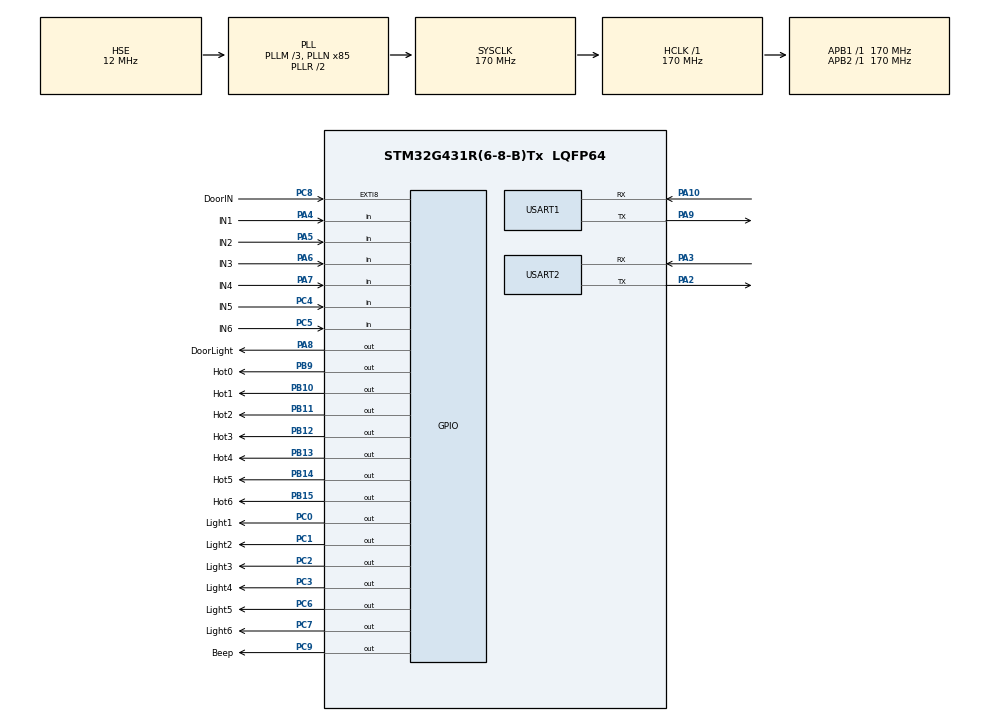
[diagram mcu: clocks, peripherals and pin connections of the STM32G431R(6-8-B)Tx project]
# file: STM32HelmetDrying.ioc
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Dma.Request0=USART2_RX
Dma.USART2_RX.0.Direction=DMA_PERIPH_TO_MEMORY
Dma.USART2_RX.0.EventEnable=DISABLE
Dma.USART2_RX.0.Instance=DMA1_Channel1
Dma.USART2_RX.0.MemDataAlignment=DMA_MDATAALIGN_BYTE
Dma.USART2_RX.0.MemInc=DMA_MINC_ENABLE
Dma.USART2_RX.0.Mode=DMA_NORMAL
Dma.USART2_RX.0.PeriphDataAlignment=DMA_PDATAALIGN_BYTE
Dma.USART2_RX.0.PeriphInc=DMA_PINC_DISABLE
Dma.USART2_RX.0.Polarity=HAL_DMAMUX_REQ_GEN_RISING
Dma.USART2_RX.0.Priority=DMA_PRIORITY_HIGH
Dma.USART2_RX.0.RequestNumber=1
Dma.USART2_RX.0.SignalID=NONE
Dma.USART2_RX.0.SyncEnable=DISABLE
Dma.USART2_RX.0.SyncPolarity=HAL_DMAMUX_SYNC_NO_EVENT
Dma.USART2_RX.0.SyncRequestNumber=1
Dma.USART2_RX.0.SyncSignalID=NONE
Mcu.Family=STM32G4
Mcu.Name=STM32G431R(6-8-B)Tx
Mcu.Package=LQFP64
NVIC.EXTI9_5_IRQn=true\:0\:0\:false\:false\:true\:true\:true\:true
NVIC.PriorityGroup=NVIC_PRIORITYGROUP_4
NVIC.USART2_IRQn=true\:0\:0\:false\:false\:true\:true\:true\:true
PA10.Mode=Asynchronous
PA10.Signal=USART1_RX
PA13.Mode=Serial_Wire
PA13.Signal=SYS_JTMS-SWDIO
PA14.Mode=Serial_Wire
PA14.Signal=SYS_JTCK-SWCLK
PA2.Mode=Asynchronous
PA2.Signal=USART2_TX
PA3.Mode=Asynchronous
PA3.Signal=USART2_RX
PA4.GPIO_Label=IN1
PA4.GPIO_PuPd=GPIO_PULLUP
PA4.Signal=GPIO_Input
PA5.GPIO_Label=IN2
PA5.GPIO_PuPd=GPIO_PULLUP
PA5.Signal=GPIO_Input
PA6.GPIO_Label=IN3
PA6.GPIO_PuPd=GPIO_PULLUP
PA6.Signal=GPIO_Input
PA7.GPIO_Label=IN4
PA7.GPIO_PuPd=GPIO_PULLUP
PA7.Signal=GPIO_Input
PA8.GPIO_Label=DoorLight
PA8.Signal=GPIO_Output
PA9.Mode=Asynchronous
PA9.Signal=USART1_TX
PB10.GPIO_Label=Hot1
PB10.Signal=GPIO_Output
PB11.GPIO_Label=Hot2
PB11.Signal=GPIO_Output
PB12.GPIO_Label=Hot3
PB12.Signal=GPIO_Output
PB13.GPIO_Label=Hot4
PB13.Signal=GPIO_Output
PB14.GPIO_Label=Hot5
PB14.Signal=GPIO_Output
PB15.GPIO_Label=Hot6
PB15.Signal=GPIO_Output
PB9.GPIO_Label=Hot0
PB9.Signal=GPIO_Output
PC0.GPIO_Label=Light1
PC0.Signal=GPIO_Output
PC1.GPIO_Label=Light2
PC1.Signal=GPIO_Output
PC2.GPIO_Label=Light3
PC2.Signal=GPIO_Output
PC3.GPIO_Label=Light4
PC3.Signal=GPIO_Output
PC4.GPIO_Label=IN5
PC4.GPIO_PuPd=GPIO_PULLUP
PC4.Signal=GPIO_Input
PC5.GPIO_Label=IN6
PC5.GPIO_PuPd=GPIO_PULLUP
PC5.Signal=GPIO_Input
PC6.GPIO_Label=Light5
PC6.Signal=GPIO_Output
PC7.GPIO_Label=Light6
PC7.Signal=GPIO_Output
PC8.GPIO_Label=DoorIN
PC8.GPIO_ModeDefaultEXTI=GPIO_MODE_IT_RISING_FALLING
PC8.GPIO_PuPd=GPIO_PULLUP
PC8.Signal=GPXTI8
PC9.GPIO_Label=Beep
PC9.Signal=GPIO_Output
PF0-OSC_IN.Mode=HSE-External-Oscillator
PF0-OSC_IN.Signal=RCC_OSC_IN
PF1-OSC_OUT.Mode=HSE-External-Oscillator
PF1-OSC_OUT.Signal=RCC_OSC_OUT
ProjectManager.HeapSize=0x200
ProjectManager.StackSize=0x400
ProjectManager.TargetToolchain=STM32CubeIDE
RCC.ADC12Freq_Value=170000000
RCC.AHBFreq_Value=170000000
RCC.APB1Freq_Value=170000000
RCC.APB1TimFreq_Value=170000000
RCC.APB2Freq_Value=170000000
RCC.APB2TimFreq_Value=170000000
RCC.CortexFreq_Value=170000000
RCC.EXTERNAL_CLOCK_VALUE=12288000
RCC.HCLKFreq_Value=170000000
RCC.HSE_VALUE=12000000
RCC.HSI48_VALUE=48000000
RCC.HSI_VALUE=16000000
RCC.LSE_VALUE=32768
RCC.PLLM=RCC_PLLM_DIV3
RCC.PLLN=85
RCC.PLLSourceVirtual=RCC_PLLSOURCE_HSE
RCC.SYSCLKFreq_VALUE=170000000
RCC.SYSCLKSource=RCC_SYSCLKSOURCE_PLLCLK
RCC.USBFreq_Value=170000000
RCC.VCOOutputFreq_Value=340000000
USART1.VirtualMode-Asynchronous=VM_ASYNC
USART2.VirtualMode-Asynchronous=VM_ASYNC
VP_SYS_VS_DBSignals.Mode=DisableDeadBatterySignals
board=custom

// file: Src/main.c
/* USER CODE BEGIN Header */
/**
  ******************************************************************************
  * @file           : main.c
  * @brief          : Main program body
  ******************************************************************************
  * @attention
  *
  * Copyright (c) 2025 STMicroelectronics.
  * All rights reserved.
  *
  * This software is licensed under terms that can be found in the LICENSE file
  * in the root directory of this software component.
  * If no LICENSE file comes with this software, it is provided AS-IS.
  *
  ******************************************************************************
  */
/* USER CODE END Header */
#include "main.h"

/* USER CODE BEGIN Includes */
#include <retarget.h>
#include <stdbool.h>

#include "stm32g4xx_hal_uart.h"
#include "TJCScreen.h"
#include "Work.h"

/* USER CODE END Includes */

UART_HandleTypeDef huart1;
UART_HandleTypeDef huart2;
DMA_HandleTypeDef hdma_usart2_rx;

void SystemClock_Config(void);
static void MX_GPIO_Init(void);
static void MX_DMA_Init(void);
static void MX_USART1_UART_Init(void);
static void MX_USART2_UART_Init(void);

/* USER CODE BEGIN 0 */
int recLen = 100;
char rec[100] = {0};
volatile bool nowExit[6];
volatile bool isWorking = {false};
static float YuZhi = 1000.0f;

void Check() {
    if (HAL_GPIO_ReadPin(IN1_GPIO_Port, IN1_Pin) == GPIO_PIN_RESET) {
        nowExit[0] = true;
        TJCSendAnyProperty("toukui1", "bco", "63488");
    } else {
        nowExit[0] = false;
        TJCSendAnyProperty("toukui1", "bco", "65535");
    }
    if (HAL_GPIO_ReadPin(IN2_GPIO_Port, IN2_Pin) == GPIO_PIN_RESET) {
        nowExit[1] = true;
        TJCSendAnyProperty("toukui2", "bco", "63488");
    } else {
        nowExit[1] = false;
        TJCSendAnyProperty("toukui2", "bco", "65535");
    }
    if (HAL_GPIO_ReadPin(IN3_GPIO_Port, IN3_Pin) == GPIO_PIN_RESET) {
        nowExit[2] = true;
        TJCSendAnyProperty("toukui3", "bco", "63488");
    } else {
        nowExit[2] = false;
        TJCSendAnyProperty("toukui3", "bco", "65535");
    }
    if (HAL_GPIO_ReadPin(IN4_GPIO_Port, IN4_Pin) == GPIO_PIN_RESET) {
        nowExit[3] = true;
        TJCSendAnyProperty("toukui4", "bco", "63488");
    } else {
        nowExit[3] = false;
        TJCSendAnyProperty("toukui4", "bco", "65535");
    }
    if (HAL_GPIO_ReadPin(IN5_GPIO_Port, IN5_Pin) == GPIO_PIN_RESET) {
        nowExit[4] = true;
        TJCSendAnyProperty("toukui5", "bco", "63488");
    } else {
        nowExit[4] = false;
        TJCSendAnyProperty("toukui5", "bco", "65535");
    }
    if (HAL_GPIO_ReadPin(IN6_GPIO_Port, IN6_Pin) == GPIO_PIN_RESET) {
        nowExit[5] = true;
        TJCSendAnyProperty("toukui6", "bco", "63488");
    } else {
        nowExit[5] = false;
        TJCSendAnyProperty("toukui6", "bco", "65535");
    }
}
/* USER CODE END 0 */

int main(void) {

    /* MCU Configuration--------------------------------------------------------*/

    /* Reset of all peripherals, Initializes the Flash interface and the Systick. */
    HAL_Init();

    /* Configure the system clock */
    SystemClock_Config();

    /* Initialize all configured peripherals */
    MX_GPIO_Init();
    MX_DMA_Init();
    MX_USART1_UART_Init();
    MX_USART2_UART_Init();
    /* USER CODE BEGIN 2 */
    __HAL_UART_ENABLE_IT(&huart2, UART_IT_IDLE);
    HAL_UART_Receive_DMA(&huart2, (uint8_t *) rec, recLen);

    HAL_GPIO_WritePin(Hot0_GPIO_Port, Hot0_Pin, GPIO_PIN_SET);
    HAL_GPIO_WritePin(Hot1_GPIO_Port, Hot1_Pin, GPIO_PIN_SET);
    HAL_GPIO_WritePin(Hot2_GPIO_Port, Hot2_Pin, GPIO_PIN_SET);
    HAL_GPIO_WritePin(Hot3_GPIO_Port, Hot3_Pin, GPIO_PIN_SET);
    HAL_GPIO_WritePin(Hot4_GPIO_Port, Hot4_Pin, GPIO_PIN_SET);
    HAL_GPIO_WritePin(Hot5_GPIO_Port, Hot5_Pin, GPIO_PIN_SET);
    HAL_GPIO_WritePin(Hot6_GPIO_Port, Hot6_Pin, GPIO_PIN_SET);

    HAL_GPIO_WritePin(Light1_GPIO_Port, Light1_Pin, GPIO_PIN_SET);
    HAL_GPIO_WritePin(Light2_GPIO_Port, Light2_Pin, GPIO_PIN_SET);
    HAL_GPIO_WritePin(Light3_GPIO_Port, Light3_Pin, GPIO_PIN_SET);
    HAL_GPIO_WritePin(Light4_GPIO_Port, Light4_Pin, GPIO_PIN_SET);
    HAL_GPIO_WritePin(Light5_GPIO_Port, Light5_Pin, GPIO_PIN_SET);
    HAL_GPIO_WritePin(Light6_GPIO_Port, Light6_Pin, GPIO_PIN_SET);
    HAL_GPIO_WritePin(DoorLight_GPIO_Port, DoorLight_Pin, GPIO_PIN_SET);
    HAL_Delay(1000);
    HAL_GPIO_WritePin(Hot0_GPIO_Port, Hot0_Pin, GPIO_PIN_RESET);
    HAL_GPIO_WritePin(Hot1_GPIO_Port, Hot1_Pin, GPIO_PIN_RESET);
    HAL_GPIO_WritePin(Hot2_GPIO_Port, Hot2_Pin, GPIO_PIN_RESET);
    HAL_GPIO_WritePin(Hot3_GPIO_Port, Hot3_Pin, GPIO_PIN_RESET);
    HAL_GPIO_WritePin(Hot4_GPIO_Port, Hot4_Pin, GPIO_PIN_RESET);
    HAL_GPIO_WritePin(Hot5_GPIO_Port, Hot5_Pin, GPIO_PIN_RESET);
    HAL_GPIO_WritePin(Hot6_GPIO_Port, Hot6_Pin, GPIO_PIN_RESET);
    HAL_GPIO_WritePin(DoorLight_GPIO_Port, DoorLight_Pin, GPIO_PIN_RESET);

    HAL_GPIO_WritePin(Light1_GPIO_Port, Light1_Pin, GPIO_PIN_RESET);
    HAL_GPIO_WritePin(Light2_GPIO_Port, Light2_Pin, GPIO_PIN_RESET);
    HAL_GPIO_WritePin(Light3_GPIO_Port, Light3_Pin, GPIO_PIN_RESET);
    HAL_GPIO_WritePin(Light4_GPIO_Port, Light4_Pin, GPIO_PIN_RESET);
    HAL_GPIO_WritePin(Light5_GPIO_Port, Light5_Pin, GPIO_PIN_RESET);
    HAL_GPIO_WritePin(Light6_GPIO_Port, Light6_Pin, GPIO_PIN_RESET);
    /* USER CODE END 2 */

    /* Infinite loop */
    /* USER CODE BEGIN WHILE */
    RetargetInit(&huart1);
    TJCScreenInit(&huart2);
    while (1) {
        /* USER CODE END WHILE */

        /* USER CODE BEGIN 3 */
        HAL_Delay(200);
        Check();
    }
    /* USER CODE END 3 */
}

void SystemClock_Config(void) {
    RCC_OscInitTypeDef RCC_OscInitStruct = {0};
    RCC_ClkInitTypeDef RCC_ClkInitStruct = {0};

    /** Configure the main internal regulator output voltage
    */
    HAL_PWREx_ControlVoltageScaling(PWR_REGULATOR_VOLTAGE_SCALE1_BOOST);

    /** Initializes the RCC Oscillators according to the specified parameters
    * in the RCC_OscInitTypeDef structure.
    */
    RCC_OscInitStruct.OscillatorType = RCC_OSCILLATORTYPE_HSE;
    RCC_OscInitStruct.HSEState = RCC_HSE_ON;
    RCC_OscInitStruct.PLL.PLLState = RCC_PLL_ON;
    RCC_OscInitStruct.PLL.PLLSource = RCC_PLLSOURCE_HSE;
    RCC_OscInitStruct.PLL.PLLM = RCC_PLLM_DIV3;
    RCC_OscInitStruct.PLL.PLLN = 85;
    RCC_OscInitStruct.PLL.PLLP = RCC_PLLP_DIV2;
    RCC_OscInitStruct.PLL.PLLQ = RCC_PLLQ_DIV2;
    RCC_OscInitStruct.PLL.PLLR = RCC_PLLR_DIV2;
    if (HAL_RCC_OscConfig(&RCC_OscInitStruct) != HAL_OK) {
        Error_Handler();
    }

    /** Initializes the CPU, AHB and APB buses clocks
    */
    RCC_ClkInitStruct.ClockType = RCC_CLOCKTYPE_HCLK | RCC_CLOCKTYPE_SYSCLK
        | RCC_CLOCKTYPE_PCLK1 | RCC_CLOCKTYPE_PCLK2;
    RCC_ClkInitStruct.SYSCLKSource = RCC_SYSCLKSOURCE_PLLCLK;
    RCC_ClkInitStruct.AHBCLKDivider = RCC_SYSCLK_DIV1;
    RCC_ClkInitStruct.APB1CLKDivider = RCC_HCLK_DIV1;
    RCC_ClkInitStruct.APB2CLKDivider = RCC_HCLK_DIV1;

    if (HAL_RCC_ClockConfig(&RCC_ClkInitStruct, FLASH_LATENCY_4) != HAL_OK) {
        Error_Handler();
    }
}

static void MX_USART1_UART_Init(void) {

    huart1.Instance = USART1;
    huart1.Init.BaudRate = 115200;
    huart1.Init.WordLength = UART_WORDLENGTH_8B;
    huart1.Init.StopBits = UART_STOPBITS_1;
    huart1.Init.Parity = UART_PARITY_NONE;
    huart1.Init.Mode = UART_MODE_TX_RX;
    huart1.Init.HwFlowCtl = UART_HWCONTROL_NONE;
    huart1.Init.OverSampling = UART_OVERSAMPLING_16;
    huart1.Init.OneBitSampling = UART_ONE_BIT_SAMPLE_DISABLE;
    huart1.Init.ClockPrescaler = UART_PRESCALER_DIV1;
    huart1.AdvancedInit.AdvFeatureInit = UART_ADVFEATURE_NO_INIT;
    if (HAL_UART_Init(&huart1) != HAL_OK) {
        Error_Handler();
    }
    if (HAL_UARTEx_SetTxFifoThreshold(&huart1, UART_TXFIFO_THRESHOLD_1_8) != HAL_OK) {
        Error_Handler();
    }
    if (HAL_UARTEx_SetRxFifoThreshold(&huart1, UART_RXFIFO_THRESHOLD_1_8) != HAL_OK) {
        Error_Handler();
    }
    if (HAL_UARTEx_DisableFifoMode(&huart1) != HAL_OK) {
        Error_Handler();
    }
}

static void MX_USART2_UART_Init(void) {

    huart2.Instance = USART2;
    huart2.Init.BaudRate = 115200;
    huart2.Init.WordLength = UART_WORDLENGTH_8B;
    huart2.Init.StopBits = UART_STOPBITS_1;
    huart2.Init.Parity = UART_PARITY_NONE;
    huart2.Init.Mode = UART_MODE_TX_RX;
    huart2.Init.HwFlowCtl = UART_HWCONTROL_NONE;
    huart2.Init.OverSampling = UART_OVERSAMPLING_16;
    huart2.Init.OneBitSampling = UART_ONE_BIT_SAMPLE_DISABLE;
    huart2.Init.ClockPrescaler = UART_PRESCALER_DIV1;
    huart2.AdvancedInit.AdvFeatureInit = UART_ADVFEATURE_NO_INIT;
    if (HAL_UART_Init(&huart2) != HAL_OK) {
        Error_Handler();
    }
    if (HAL_UARTEx_SetTxFifoThreshold(&huart2, UART_TXFIFO_THRESHOLD_1_8) != HAL_OK) {
        Error_Handler();
    }
    if (HAL_UARTEx_SetRxFifoThreshold(&huart2, UART_RXFIFO_THRESHOLD_1_8) != HAL_OK) {
        Error_Handler();
    }
    if (HAL_UARTEx_DisableFifoMode(&huart2) != HAL_OK) {
        Error_Handler();
    }
}

static void MX_DMA_Init(void) {
    /* DMA controller clock enable */
    __HAL_RCC_DMAMUX1_CLK_ENABLE();
    __HAL_RCC_DMA1_CLK_ENABLE();
}

static void MX_GPIO_Init(void) {
    GPIO_InitTypeDef GPIO_InitStruct = {0};

    /* GPIO Ports Clock Enable */
    __HAL_RCC_GPIOF_CLK_ENABLE();
    __HAL_RCC_GPIOC_CLK_ENABLE();
    __HAL_RCC_GPIOA_CLK_ENABLE();
    __HAL_RCC_GPIOB_CLK_ENABLE();

    /*Configure GPIO pin Output Level */
    HAL_GPIO_WritePin(GPIOC, Light1_Pin | Light2_Pin | Light3_Pin | Light4_Pin
                      | Light5_Pin | Light6_Pin | Beep_Pin, GPIO_PIN_RESET);

    /*Configure GPIO pin Output Level */
    HAL_GPIO_WritePin(GPIOB, Hot1_Pin | Hot2_Pin | Hot3_Pin | Hot4_Pin
                      | Hot5_Pin | Hot6_Pin | Hot0_Pin, GPIO_PIN_RESET);

    /*Configure GPIO pin Output Level */
    HAL_GPIO_WritePin(DoorLight_GPIO_Port, DoorLight_Pin, GPIO_PIN_RESET);

    /*Configure GPIO pins : Light1_Pin Light2_Pin Light3_Pin Light4_Pin
                             Light5_Pin Light6_Pin Beep_Pin */
    GPIO_InitStruct.Pin = Light1_Pin | Light2_Pin | Light3_Pin | Light4_Pin
        | Light5_Pin | Light6_Pin | Beep_Pin;
    GPIO_InitStruct.Mode = GPIO_MODE_OUTPUT_PP;
    GPIO_InitStruct.Pull = GPIO_NOPULL;
    GPIO_InitStruct.Speed = GPIO_SPEED_FREQ_LOW;
    HAL_GPIO_Init(GPIOC, &GPIO_InitStruct);

    /*Configure GPIO pins : IN1_Pin IN2_Pin IN3_Pin IN4_Pin */
    GPIO_InitStruct.Pin = IN1_Pin | IN2_Pin | IN3_Pin | IN4_Pin;
    GPIO_InitStruct.Mode = GPIO_MODE_INPUT;
    GPIO_InitStruct.Pull = GPIO_PULLUP;
    HAL_GPIO_Init(GPIOA, &GPIO_InitStruct);

    /*Configure GPIO pins : IN5_Pin IN6_Pin */
    GPIO_InitStruct.Pin = IN5_Pin | IN6_Pin;
    GPIO_InitStruct.Mode = GPIO_MODE_INPUT;
    GPIO_InitStruct.Pull = GPIO_PULLUP;
    HAL_GPIO_Init(GPIOC, &GPIO_InitStruct);

    /*Configure GPIO pins : Hot1_Pin Hot2_Pin Hot3_Pin Hot4_Pin
                             Hot5_Pin Hot6_Pin Hot0_Pin */
    GPIO_InitStruct.Pin = Hot1_Pin | Hot2_Pin | Hot3_Pin | Hot4_Pin
        | Hot5_Pin | Hot6_Pin | Hot0_Pin;
    GPIO_InitStruct.Mode = GPIO_MODE_OUTPUT_PP;
    GPIO_InitStruct.Pull = GPIO_NOPULL;
    GPIO_InitStruct.Speed = GPIO_SPEED_FREQ_LOW;
    HAL_GPIO_Init(GPIOB, &GPIO_InitStruct);

    /*Configure GPIO pin : DoorIN_Pin */
    GPIO_InitStruct.Pin = DoorIN_Pin;
    GPIO_InitStruct.Mode = GPIO_MODE_IT_RISING_FALLING;
    GPIO_InitStruct.Pull = GPIO_PULLUP;
    HAL_GPIO_Init(DoorIN_GPIO_Port, &GPIO_InitStruct);

    /*Configure GPIO pin : DoorLight_Pin */
    GPIO_InitStruct.Pin = DoorLight_Pin;
    GPIO_InitStruct.Mode = GPIO_MODE_OUTPUT_PP;
    GPIO_InitStruct.Pull = GPIO_NOPULL;
    GPIO_InitStruct.Speed = GPIO_SPEED_FREQ_LOW;
    HAL_GPIO_Init(DoorLight_GPIO_Port, &GPIO_InitStruct);

    /* EXTI interrupt init*/
    HAL_NVIC_SetPriority(EXTI9_5_IRQn, 0, 0);
    HAL_NVIC_EnableIRQ(EXTI9_5_IRQn);

}

/* USER CODE BEGIN 4 */
volatile bool isBeeping = false;
void HAL_GPIO_EXTI_Callback(uint16_t GPIO_Pin) {
    if (GPIO_Pin == DoorIN_Pin) {
        if (HAL_GPIO_ReadPin(DoorIN_GPIO_Port,DoorIN_Pin) == GPIO_PIN_RESET) {
            //有人开门
            if (isWorking) {
                Stop();
                TJCSendAny("noOpen.en=1");
                TJCSendAny("WorkingTIM.en=0");
                TJCSendTxt("t5", "继续");
                isBeeping = true;
                HAL_GPIO_WritePin(Beep_GPIO_Port,Beep_Pin, GPIO_PIN_SET);
            }
        } else if (HAL_GPIO_ReadPin(DoorIN_GPIO_Port,DoorIN_Pin) == GPIO_PIN_SET) {
            if (isBeeping) {
                //关门了
                isBeeping = false;
                HAL_GPIO_WritePin(Beep_GPIO_Port,Beep_Pin, GPIO_PIN_RESET);
            }
        }
        __HAL_GPIO_EXTI_CLEAR_IT(DoorIN_Pin);
    }
}
/* USER CODE END 4 */

void Error_Handler(void) {
    __disable_irq();
    while (1) {
    }
}
